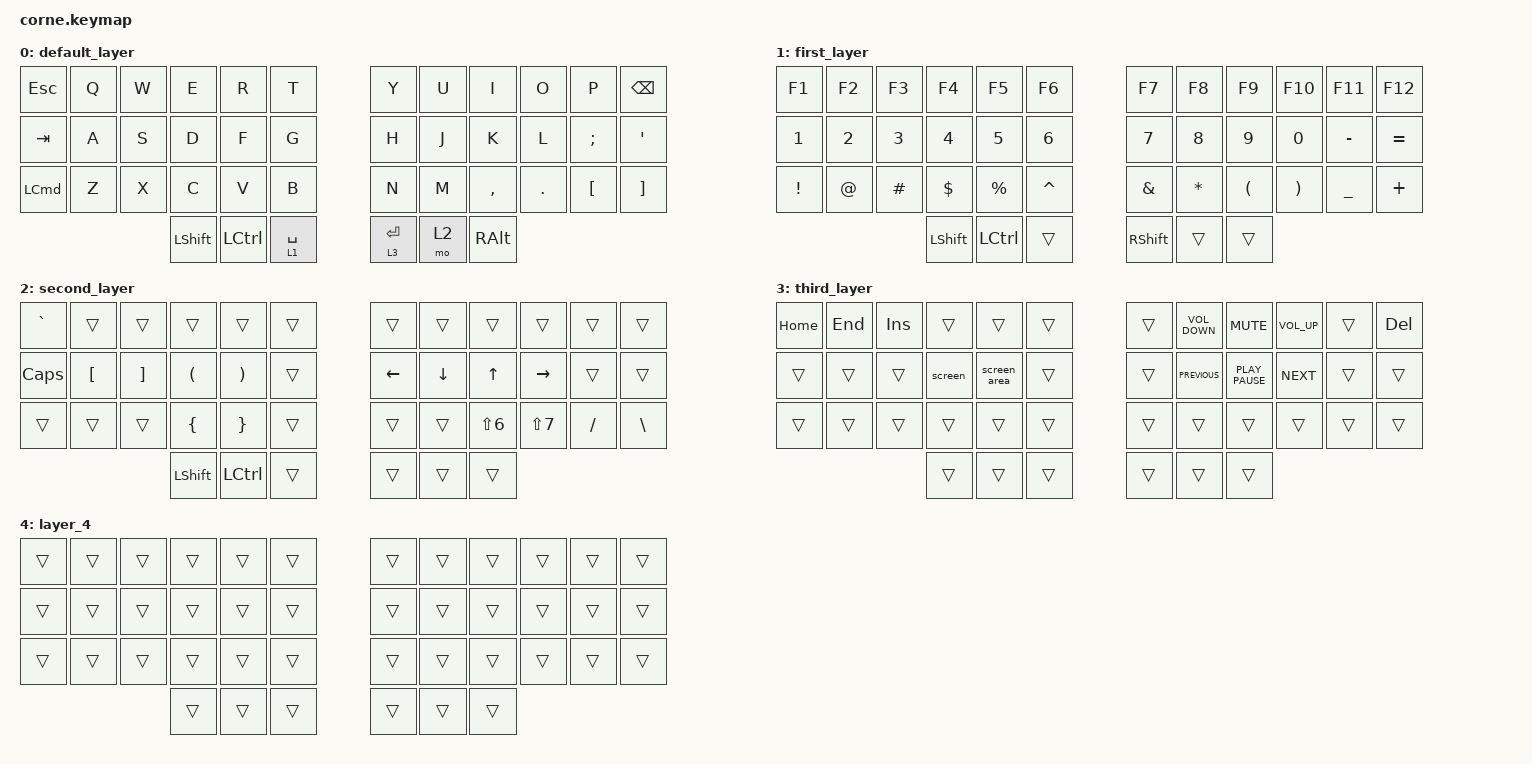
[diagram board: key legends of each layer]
/*
 * Copyright (c) 2020 The ZMK Contributors
 *
 * SPDX-License-Identifier: MIT
 */

#include <behaviors.dtsi>
#include <dt-bindings/zmk/keys.h>

/ {
    combos {
        compatible = "zmk,combos";

        combo_esc {
            timeout-ms = <50>;
            key-positions = <0 1>;
            bindings = <&kp ESC>;
        };
    };

    behaviors {
        ss_hs_modmorph: ss_hs_modmorph {
            compatible = "zmk,behavior-mod-morph";
            label = "SS_HS_MODMORPH";
            bindings = <&kp M>, <&kp RIGHT_BRACKET>;

            #binding-cells = <0>;
            mods = <(MOD_LSFT|MOD_RSFT)>;
        };

        kh_hs_tapdance: kh_hs_tapdance {
            compatible = "zmk,behavior-tap-dance";
            label = "KH_HS_TAPDANCE";
            #binding-cells = <0>;
            tapping-term-ms = <200>;
            bindings = <&kp LEFT_BRACKET>, <&kp RIGHT_BRACKET>;
        };

        hrm: hrm {
            compatible = "zmk,behavior-hold-tap";
            #binding-cells = <2>;
            flavor = "tap-preferred";
            tapping-term-ms = <200>;
            quick-tap-ms = <200>;
            require-prior-idle-ms = <125>;
            bindings = <&kp>, <&kp>;
        };
    };

    macros {
        screen_area: screen_area {
            compatible = "zmk,behavior-macro";
            #binding-cells = <0>;
            bindings =
                <&macro_press>,
                <&kp LGUI &kp LCTRL &kp LSHFT>,
                <&macro_tap>,
                <&kp NUMBER_4>,
                <&macro_release>,
                <&kp LGUI &kp LCTRL &kp LSHIFT>;

            label = "SCREEN_AREA";
        };

        screen: screen {
            compatible = "zmk,behavior-macro";
            #binding-cells = <0>;
            bindings =
                <&macro_press>,
                <&kp LGUI &kp LCTRL &kp LSHFT>,
                <&macro_tap>,
                <&kp NUMBER_3>,
                <&macro_release>,
                <&kp LGUI &kp LCTRL &kp LSHIFT>;

            label = "SCREEN";
        };
    };

    keymap {
        compatible = "zmk,keymap";

        default_layer {
            // -----------------------------------------------------------------------------------------
            // |  TAB |  Q  |  W  |  E  |  R  |  T  |   |  Y  |  U   |  I  |  O  |  P  | BKSP |
            // | CTRL |  A  |  S  |  D  |  F  |  G  |   |  H  |  J   |  K  |  L  |  ;  |  '   |
            // | SHFT |  Z  |  X  |  C  |  V  |  B  |   |  N  |  M   |  ,  |  .  |  /  | ESC  |
            //                    | GUI | LWR | SPC |   | ENT | RSE  | ALT |

            bindings = <
&kp ESC           &kp Q  &kp W  &kp E           &kp R      &kp T          &kp Y        &kp U  &kp I      &kp O    &kp P             &kp BSPC
&kp TAB           &kp A  &kp S  &kp D           &kp F      &kp G          &kp H        &kp J  &kp K      &kp L    &kp SEMI          &kp SQT
&kp LEFT_COMMAND  &kp Z  &kp X  &kp C           &kp V      &kp B          &kp N        &kp M  &kp COMMA  &kp DOT  &kp LEFT_BRACKET  &kp RIGHT_BRACKET
                                &kp LEFT_SHIFT  &kp LCTRL  &lt 1 SPACE    &lt 3 ENTER  &mo 2  &kp RALT
            >;
        };

        first_layer {
            // -----------------------------------------------------------------------------------------
            // |  TAB |  1  |  2  |  3  |  4  |  5  |   |  6  |  7  |  8  |  9  |  0  | BKSP |
            // | BTCLR| BT1 | BT2 | BT3 | BT4 | BT5 |   | LFT | DWN |  UP | RGT |     |      |
            // | SHFT |     |     |     |     |     |   |     |     |     |     |     |      |
            //                    | GUI |     | SPC |   | ENT |     | ALT |

            bindings = <
&kp F1           &kp F2        &kp F3        &kp F4        &kp F5       &kp F6          &kp F7         &kp F8        &kp F9                &kp F10                &kp F11         &kp F12
&kp NUMBER_1     &kp NUMBER_2  &kp NUMBER_3  &kp NUMBER_4  &kp N5       &kp NUMBER_6    &kp N7         &kp N8        &kp N9                &kp N0                 &kp MINUS       &kp EQUAL
&kp EXCLAMATION  &kp AT_SIGN   &kp HASH      &kp DOLLAR    &kp PERCENT  &kp CARET       &kp AMPERSAND  &kp ASTERISK  &kp LEFT_PARENTHESIS  &kp RIGHT_PARENTHESIS  &kp UNDERSCORE  &kp PLUS
                                             &kp LSHFT     &kp LCTRL    &trans          &kp RSHFT      &trans        &trans
            >;
        };

        second_layer {
            bindings = <
&kp GRAVE  &trans            &trans             &trans                &trans                 &trans    &trans    &trans    &trans            &trans      &trans     &trans
&kp CAPS   &kp LEFT_BRACKET  &kp RIGHT_BRACKET  &kp LEFT_PARENTHESIS  &kp RIGHT_PARENTHESIS  &trans    &kp LEFT  &kp DOWN  &kp UP_ARROW      &kp RIGHT   &trans     &trans
&trans     &trans            &trans             &kp LEFT_BRACE        &kp RIGHT_BRACE        &trans    &trans    &trans    &kp LS(NUMBER_6)  &kp LS(N7)  &kp SLASH  &kp BACKSLASH
                                                &kp LSHFT             &kp LCTRL              &trans    &trans    &trans    &trans
            >;
        };

        third_layer {
            bindings = <
&kp HOME  &kp END  &kp INSERT  &trans   &trans        &trans    &trans  &kp C_VOLUME_DOWN  &kp K_MUTE        &kp C_VOLUME_UP  &trans  &kp DELETE
&trans    &trans   &trans      &screen  &screen_area  &trans    &trans  &kp K_PREVIOUS     &kp K_PLAY_PAUSE  &kp K_NEXT       &trans  &trans
&trans    &trans   &trans      &trans   &trans        &trans    &trans  &trans             &trans            &trans           &trans  &trans
                               &trans   &trans        &trans    &trans  &trans             &trans
            >;
        };

        layer_4 {
            bindings = <
&trans  &trans  &trans  &trans  &trans  &trans    &trans  &trans  &trans  &trans  &trans  &trans
&trans  &trans  &trans  &trans  &trans  &trans    &trans  &trans  &trans  &trans  &trans  &trans
&trans  &trans  &trans  &trans  &trans  &trans    &trans  &trans  &trans  &trans  &trans  &trans
                        &trans  &trans  &trans    &trans  &trans  &trans
            >;
        };
    };
};
